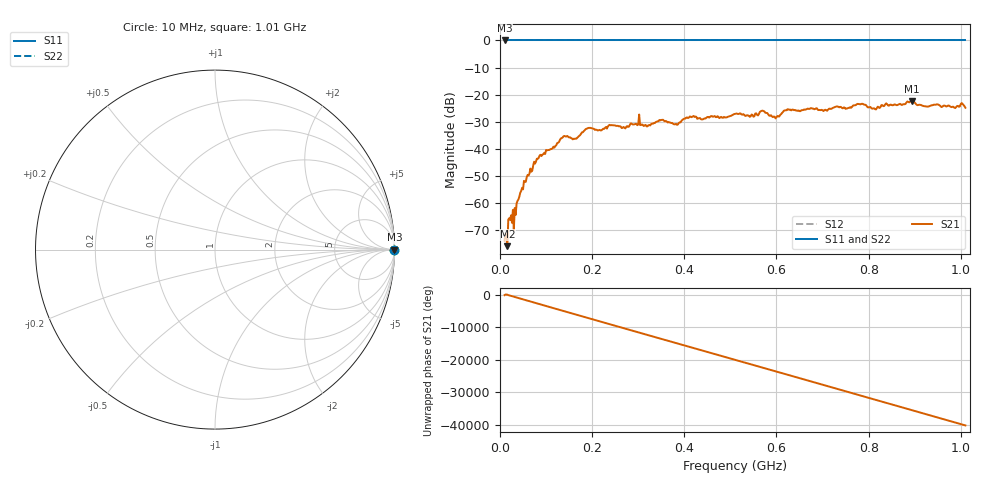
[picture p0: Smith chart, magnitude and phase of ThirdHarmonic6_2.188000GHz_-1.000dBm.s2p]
! 8/17/2025 2:05:34 AM
! C:\ANRITSUVNA\TEMP\TEMP.S2P
! CHANNEL.1
! TR.MEASUREMENT
! RAW.DATA
! RF.CORRECTION.OFF
! AVERAGING.OFF
! IF.BANDWIDTH: 5KHZ
! SWEEPTYPE:  FREQ.SWEEP(Linear)
! Reference Plane Port Info
! PORT:  PORT1  PORT2
! DISTANCE:  0  m  0  m
! TIME:  0  s  0  s
! PHASE.OFFSET:  0  deg.  0  deg.
! LOSS:  0  dB  0  dB
! REF.LOSS:  0  dB  0  dB
! REF.FREQ:  0  Hz  0  Hz
! Power Info
! POWER:  -20  dBm  -20  dBm
! EFF.POWER:  -20  dBm  -20  dBm
! SOURCE.ATTEN:  0  dB  0  dB
! TEST.ATTEN:  0  dB  0  dB
# GHZ S RI R 50.0
! FREQ.GHZ  S11RE  S11IM  S21RE  S21IM  S12RE  S12IM  S22RE  S22IM
!; PortSelection: Port_12
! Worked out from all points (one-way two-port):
!   501 points, 10 MHz to 1.01 GHz, reference 50 ohm
!   highest |S21| = -22.27 dB at 894 MHz (marker M1); lowest = -75.8 dB at 16 MHz (marker M2)
!   lowest |S11| = 0.0 dB at 10 MHz (marker M3)
!   |S11| at or under -10 dB: nowhere
!   |S22| runs from 0.0 to 0.0 dB; largest |S21 - S12| = 1.1
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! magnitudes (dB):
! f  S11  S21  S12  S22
! 10 MHz  0.0  -73.6  0.0  0.0
! 16 MHz  0.0  -75.8  0.0  0.0
! 22 MHz  0.0  -66.1  0.0  0.0
! 30 MHz  0.0  -69.9  0.0  0.0
! 40 MHz  0.0  -58.5  0.0  0.0
! 56 MHz  0.0  -52.0  0.0  0.0
! 84 MHz  0.0  -43.2  0.0  0.0
! 136 MHz  0.0  -35.7  0.0  0.0
! 162 MHz  0.0  -36.2  0.0  0.0
! 178 MHz  0.0  -33.8  0.0  0.0
! 192 MHz  0.0  -32.2  0.0  0.0
! 344 MHz  0.0  -29.7  0.0  0.0
! 382 MHz  0.0  -30.7  0.0  0.0
! 416 MHz  0.0  -28.3  0.0  0.0
! 510 MHz  0.0  -27.0  0.0  0.0
! 570 MHz  0.0  -25.9  0.0  0.0
! 596 MHz  0.0  -28.1  0.0  0.0
! 622 MHz  0.0  -25.7  0.0  0.0
! 678 MHz  0.0  -25.1  0.0  0.0
! 844 MHz  0.0  -24.0  0.0  0.0
! 894 MHz  0.0  -22.3  0.0  0.0
! 1.01 GHz  0.0  -24.8  0.0  0.0
